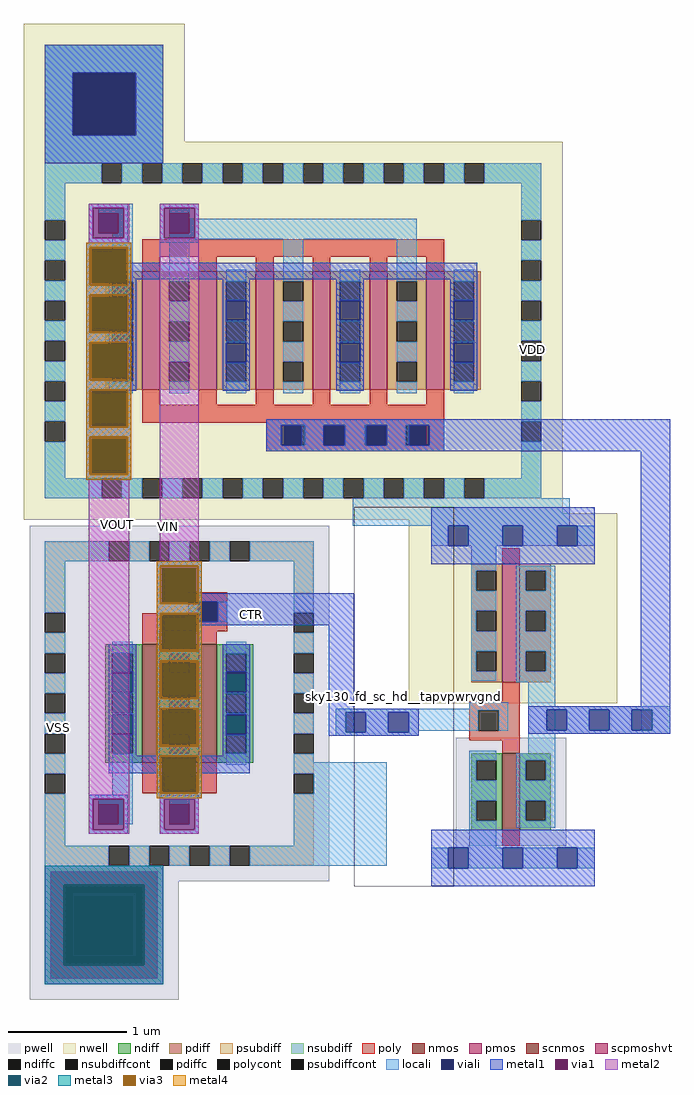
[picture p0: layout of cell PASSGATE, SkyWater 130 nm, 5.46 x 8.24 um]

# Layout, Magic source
magic
tech sky130A
magscale 1 2
<< nwell >>
rect 1366 442 2276 1080
<< pwell >>
rect 1376 -168 1882 432
<< nmos >>
rect 1566 32 1596 232
rect 1662 32 1692 232
<< pmos >>
rect 1566 662 1596 862
rect 1662 662 1692 862
rect 1758 662 1788 862
rect 1854 662 1884 862
rect 1950 662 1980 862
rect 2046 662 2076 862
<< ndiff >>
rect 1504 217 1566 232
rect 1504 183 1516 217
rect 1550 183 1566 217
rect 1504 149 1566 183
rect 1504 115 1516 149
rect 1550 115 1566 149
rect 1504 81 1566 115
rect 1504 47 1516 81
rect 1550 47 1566 81
rect 1504 32 1566 47
rect 1596 217 1662 232
rect 1596 183 1612 217
rect 1646 183 1662 217
rect 1596 149 1662 183
rect 1596 115 1612 149
rect 1646 115 1662 149
rect 1596 81 1662 115
rect 1596 47 1612 81
rect 1646 47 1662 81
rect 1596 32 1662 47
rect 1692 217 1754 232
rect 1692 183 1708 217
rect 1742 183 1754 217
rect 1692 149 1754 183
rect 1692 115 1708 149
rect 1742 115 1754 149
rect 1692 81 1754 115
rect 1692 47 1708 81
rect 1742 47 1754 81
rect 1692 32 1754 47
<< pdiff >>
rect 1504 845 1566 862
rect 1504 811 1516 845
rect 1550 811 1566 845
rect 1504 777 1566 811
rect 1504 743 1516 777
rect 1550 743 1566 777
rect 1504 709 1566 743
rect 1504 675 1516 709
rect 1550 675 1566 709
rect 1504 662 1566 675
rect 1596 845 1662 862
rect 1596 811 1612 845
rect 1646 811 1662 845
rect 1596 777 1662 811
rect 1596 743 1612 777
rect 1646 743 1662 777
rect 1596 709 1662 743
rect 1596 675 1612 709
rect 1646 675 1662 709
rect 1596 662 1662 675
rect 1692 845 1758 862
rect 1692 811 1708 845
rect 1742 811 1758 845
rect 1692 777 1758 811
rect 1692 743 1708 777
rect 1742 743 1758 777
rect 1692 709 1758 743
rect 1692 675 1708 709
rect 1742 675 1758 709
rect 1692 662 1758 675
rect 1788 845 1854 862
rect 1788 811 1804 845
rect 1838 811 1854 845
rect 1788 777 1854 811
rect 1788 743 1804 777
rect 1838 743 1854 777
rect 1788 709 1854 743
rect 1788 675 1804 709
rect 1838 675 1854 709
rect 1788 662 1854 675
rect 1884 845 1950 862
rect 1884 811 1900 845
rect 1934 811 1950 845
rect 1884 777 1950 811
rect 1884 743 1900 777
rect 1934 743 1950 777
rect 1884 709 1950 743
rect 1884 675 1900 709
rect 1934 675 1950 709
rect 1884 662 1950 675
rect 1980 845 2046 862
rect 1980 811 1996 845
rect 2030 811 2046 845
rect 1980 777 2046 811
rect 1980 743 1996 777
rect 2030 743 2046 777
rect 1980 709 2046 743
rect 1980 675 1996 709
rect 2030 675 2046 709
rect 1980 662 2046 675
rect 2076 845 2138 862
rect 2076 811 2092 845
rect 2126 811 2138 845
rect 2076 777 2138 811
rect 2076 743 2092 777
rect 2126 743 2138 777
rect 2076 709 2138 743
rect 2076 675 2092 709
rect 2126 675 2138 709
rect 2076 662 2138 675
<< ndiffc >>
rect 1516 183 1550 217
rect 1516 115 1550 149
rect 1516 47 1550 81
rect 1612 183 1646 217
rect 1612 115 1646 149
rect 1612 47 1646 81
rect 1708 183 1742 217
rect 1708 115 1742 149
rect 1708 47 1742 81
<< pdiffc >>
rect 1516 811 1550 845
rect 1516 743 1550 777
rect 1516 675 1550 709
rect 1612 811 1646 845
rect 1612 743 1646 777
rect 1612 675 1646 709
rect 1708 811 1742 845
rect 1708 743 1742 777
rect 1708 675 1742 709
rect 1804 811 1838 845
rect 1804 743 1838 777
rect 1804 675 1838 709
rect 1900 811 1934 845
rect 1900 743 1934 777
rect 1900 675 1934 709
rect 1996 811 2030 845
rect 1996 743 2030 777
rect 1996 675 2030 709
rect 2092 811 2126 845
rect 2092 743 2126 777
rect 2092 675 2126 709
<< psubdiff >>
rect 1402 372 1510 406
rect 1544 372 1578 406
rect 1612 372 1646 406
rect 1680 372 1714 406
rect 1748 372 1856 406
rect 1402 285 1436 372
rect 1402 217 1436 251
rect 1822 285 1856 372
rect 1402 149 1436 183
rect 1402 81 1436 115
rect 1402 13 1436 47
rect 1822 217 1856 251
rect 1822 149 1856 183
rect 1822 81 1856 115
rect 1822 13 1856 47
rect 1402 -108 1436 -21
rect 1822 -108 1856 -21
rect 1402 -142 1510 -108
rect 1544 -142 1578 -108
rect 1612 -142 1646 -108
rect 1680 -142 1714 -108
rect 1748 -142 1856 -108
<< nsubdiff >>
rect 1402 1010 1498 1044
rect 1532 1010 1566 1044
rect 1600 1010 1634 1044
rect 1668 1010 1702 1044
rect 1736 1010 1770 1044
rect 1804 1010 1838 1044
rect 1872 1010 1906 1044
rect 1940 1010 1974 1044
rect 2008 1010 2042 1044
rect 2076 1010 2110 1044
rect 2144 1010 2240 1044
rect 1402 948 1436 1010
rect 2206 948 2240 1010
rect 1402 880 1436 914
rect 2206 880 2240 914
rect 1402 812 1436 846
rect 1402 744 1436 778
rect 1402 676 1436 710
rect 2206 812 2240 846
rect 2206 744 2240 778
rect 2206 676 2240 710
rect 1402 608 1436 642
rect 2206 608 2240 642
rect 1402 512 1436 574
rect 2206 512 2240 574
rect 1402 478 1498 512
rect 1532 478 1566 512
rect 1600 478 1634 512
rect 1668 478 1702 512
rect 1736 478 1770 512
rect 1804 478 1838 512
rect 1872 478 1906 512
rect 1940 478 1974 512
rect 2008 478 2042 512
rect 2076 478 2110 512
rect 2144 478 2240 512
<< psubdiffcont >>
rect 1510 372 1544 406
rect 1578 372 1612 406
rect 1646 372 1680 406
rect 1714 372 1748 406
rect 1402 251 1436 285
rect 1822 251 1856 285
rect 1402 183 1436 217
rect 1402 115 1436 149
rect 1402 47 1436 81
rect 1822 183 1856 217
rect 1822 115 1856 149
rect 1822 47 1856 81
rect 1402 -21 1436 13
rect 1822 -21 1856 13
rect 1510 -142 1544 -108
rect 1578 -142 1612 -108
rect 1646 -142 1680 -108
rect 1714 -142 1748 -108
<< nsubdiffcont >>
rect 1498 1010 1532 1044
rect 1566 1010 1600 1044
rect 1634 1010 1668 1044
rect 1702 1010 1736 1044
rect 1770 1010 1804 1044
rect 1838 1010 1872 1044
rect 1906 1010 1940 1044
rect 1974 1010 2008 1044
rect 2042 1010 2076 1044
rect 2110 1010 2144 1044
rect 1402 914 1436 948
rect 1402 846 1436 880
rect 2206 914 2240 948
rect 1402 778 1436 812
rect 1402 710 1436 744
rect 1402 642 1436 676
rect 2206 846 2240 880
rect 2206 778 2240 812
rect 2206 710 2240 744
rect 1402 574 1436 608
rect 2206 642 2240 676
rect 2206 574 2240 608
rect 1498 478 1532 512
rect 1566 478 1600 512
rect 1634 478 1668 512
rect 1702 478 1736 512
rect 1770 478 1804 512
rect 1838 478 1872 512
rect 1906 478 1940 512
rect 1974 478 2008 512
rect 2042 478 2076 512
rect 2110 478 2144 512
<< poly >>
rect 1566 886 2076 916
rect 1566 862 1596 886
rect 1662 862 1692 886
rect 1758 862 1788 886
rect 1854 862 1884 886
rect 1950 862 1980 886
rect 2046 862 2076 886
rect 1566 636 1596 662
rect 1662 636 1692 662
rect 1758 636 1788 662
rect 1854 636 1884 662
rect 1950 636 1980 662
rect 2046 636 2076 662
rect 1566 606 2076 636
rect 1644 304 1710 320
rect 1644 284 1660 304
rect 1566 270 1660 284
rect 1694 270 1710 304
rect 1566 254 1710 270
rect 1566 232 1596 254
rect 1662 232 1692 254
rect 1566 10 1596 32
rect 1662 10 1692 32
rect 1566 -20 1692 10
<< polycont >>
rect 1660 270 1694 304
<< locali >>
rect 1402 1010 1498 1044
rect 1532 1010 1566 1044
rect 1600 1010 1634 1044
rect 1668 1010 1702 1044
rect 1736 1010 1770 1044
rect 1804 1010 1838 1044
rect 1872 1010 1906 1044
rect 1940 1010 1974 1044
rect 2008 1010 2042 1044
rect 2076 1010 2110 1044
rect 2144 1010 2240 1044
rect 1402 948 1436 1010
rect 1492 960 1550 976
rect 1526 926 1550 960
rect 1402 880 1436 914
rect 1402 812 1436 846
rect 1402 744 1436 778
rect 1402 676 1436 710
rect 1516 845 1550 926
rect 1516 777 1550 779
rect 1516 741 1550 743
rect 1516 656 1550 675
rect 1612 960 1646 976
rect 1646 926 2030 950
rect 1612 916 2030 926
rect 1612 845 1646 916
rect 1612 777 1646 811
rect 1612 709 1646 743
rect 1612 656 1646 675
rect 1708 845 1742 864
rect 1708 777 1742 779
rect 1708 741 1742 743
rect 1708 656 1742 675
rect 1804 845 1838 916
rect 1804 777 1838 811
rect 1804 709 1838 743
rect 1804 656 1838 675
rect 1900 845 1934 864
rect 1900 777 1934 779
rect 1900 741 1934 743
rect 1900 656 1934 675
rect 1996 845 2030 916
rect 2206 948 2240 1010
rect 2206 880 2240 914
rect 1996 777 2030 811
rect 1996 709 2030 743
rect 1996 656 2030 675
rect 2092 845 2126 864
rect 2092 777 2126 779
rect 2092 741 2126 743
rect 2092 656 2126 675
rect 2206 812 2240 846
rect 2206 744 2240 778
rect 2206 676 2240 710
rect 1402 608 1436 642
rect 1402 512 1436 574
rect 2206 608 2240 642
rect 2206 512 2240 574
rect 1402 478 1498 512
rect 1532 478 1566 512
rect 1600 478 1634 512
rect 1668 478 1702 512
rect 1736 478 1770 512
rect 1804 478 1838 512
rect 1872 478 1906 512
rect 1940 478 1974 512
rect 2008 478 2042 512
rect 2076 478 2110 512
rect 2144 478 2240 512
rect 1922 432 2288 478
rect 1402 372 1510 406
rect 1544 372 1578 406
rect 1612 372 1646 406
rect 1680 372 1714 406
rect 1748 372 1856 406
rect 1402 285 1436 372
rect 1644 270 1660 304
rect 1694 270 1710 304
rect 1822 285 1856 372
rect 1402 217 1436 251
rect 1402 149 1436 183
rect 1402 81 1436 115
rect 1402 13 1436 47
rect 1402 -108 1436 -21
rect 1516 217 1550 236
rect 1516 149 1550 151
rect 1516 113 1550 115
rect 1516 -22 1550 47
rect 1492 -38 1550 -22
rect 1526 -72 1550 -38
rect 1612 217 1646 236
rect 1612 149 1646 183
rect 1612 81 1646 115
rect 1612 -38 1646 47
rect 1708 217 1742 236
rect 1708 149 1742 151
rect 1708 113 1742 115
rect 1708 28 1742 47
rect 1822 217 1856 251
rect 1822 149 1856 183
rect 1822 81 1856 115
rect 2033 86 2118 123
rect 1822 33 1856 47
rect 1822 13 1979 33
rect 1856 -21 1979 13
rect 1822 -108 1979 -21
rect 1402 -142 1510 -108
rect 1544 -142 1578 -108
rect 1612 -142 1646 -108
rect 1680 -142 1714 -108
rect 1748 -142 1979 -108
<< viali >>
rect 1492 926 1526 960
rect 1516 811 1550 813
rect 1516 779 1550 811
rect 1516 709 1550 741
rect 1516 707 1550 709
rect 1612 926 1646 960
rect 1708 811 1742 813
rect 1708 779 1742 811
rect 1708 709 1742 741
rect 1708 707 1742 709
rect 1900 811 1934 813
rect 1900 779 1934 811
rect 1900 709 1934 741
rect 1900 707 1934 709
rect 2092 811 2126 813
rect 2092 779 2126 811
rect 2092 709 2126 741
rect 2092 707 2126 709
rect 1660 270 1694 304
rect 1516 183 1550 185
rect 1516 151 1550 183
rect 1516 81 1550 113
rect 1516 79 1550 81
rect 1492 -72 1526 -38
rect 1708 183 1742 185
rect 1708 151 1742 183
rect 1708 81 1742 113
rect 1708 79 1742 81
rect 1612 -72 1646 -38
<< metal1 >>
rect 1476 969 1542 976
rect 1476 917 1483 969
rect 1535 917 1542 969
rect 1476 910 1542 917
rect 1596 969 1662 976
rect 1596 917 1603 969
rect 1655 917 1662 969
rect 1596 910 1662 917
rect 1510 848 2132 876
rect 1510 813 1556 848
rect 1510 779 1516 813
rect 1550 779 1556 813
rect 1510 741 1556 779
rect 1510 707 1516 741
rect 1550 707 1556 741
rect 1510 660 1556 707
rect 1702 813 1748 848
rect 1702 779 1708 813
rect 1742 779 1748 813
rect 1702 741 1748 779
rect 1702 707 1708 741
rect 1742 707 1748 741
rect 1702 660 1748 707
rect 1894 813 1940 848
rect 1894 779 1900 813
rect 1934 779 1940 813
rect 1894 741 1940 779
rect 1894 707 1900 741
rect 1934 707 1940 741
rect 1894 660 1940 707
rect 2086 813 2132 848
rect 2086 779 2092 813
rect 2126 779 2132 813
rect 2086 741 2132 779
rect 2086 707 2092 741
rect 2126 707 2132 741
rect 2086 660 2132 707
rect 2076 558 2458 612
rect 1644 304 1924 318
rect 1644 270 1660 304
rect 1694 270 1924 304
rect 1644 264 1924 270
rect 1510 185 1556 232
rect 1510 151 1516 185
rect 1550 151 1556 185
rect 1510 113 1556 151
rect 1510 79 1516 113
rect 1550 79 1556 113
rect 1510 44 1556 79
rect 1702 185 1748 232
rect 1702 151 1708 185
rect 1742 151 1748 185
rect 1702 113 1748 151
rect 1702 79 1708 113
rect 1742 79 1748 113
rect 1702 44 1748 79
rect 1881 77 1924 264
rect 2408 81 2458 558
rect 1510 14 1748 44
rect 1476 -29 1542 -22
rect 1476 -81 1483 -29
rect 1535 -81 1542 -29
rect 1476 -88 1542 -81
rect 1596 -29 1662 -22
rect 1596 -81 1603 -29
rect 1655 -81 1662 -29
rect 1596 -88 1662 -81
<< via1 >>
rect 1483 960 1535 969
rect 1483 926 1492 960
rect 1492 926 1526 960
rect 1526 926 1535 960
rect 1483 917 1535 926
rect 1603 960 1655 969
rect 1603 926 1612 960
rect 1612 926 1646 960
rect 1646 926 1655 960
rect 1603 917 1655 926
rect 1483 -38 1535 -29
rect 1483 -72 1492 -38
rect 1492 -72 1526 -38
rect 1526 -72 1535 -38
rect 1483 -81 1535 -72
rect 1603 -38 1655 -29
rect 1603 -72 1612 -38
rect 1612 -72 1646 -38
rect 1646 -72 1655 -38
rect 1603 -81 1655 -72
<< metal2 >>
rect 1476 969 1544 976
rect 1476 917 1483 969
rect 1535 917 1544 969
rect 1476 -29 1544 917
rect 1476 -81 1483 -29
rect 1535 -81 1544 -29
rect 1476 -88 1544 -81
rect 1596 969 1662 976
rect 1596 917 1603 969
rect 1655 917 1662 969
rect 1596 -29 1662 917
rect 1596 -81 1603 -29
rect 1655 -81 1662 -29
rect 1596 -88 1662 -81
use sky130_fd_sc_hd__inv_1$1  sky130_fd_sc_hd__inv_1$1_0
transform 1 0 2054 0 1 -129
box -38 -48 314 592
use sky130_fd_sc_hd__tapvpwrvgnd_1$2  sky130_fd_sc_hd__tapvpwrvgnd_1$2_0
transform 1 0 1962 0 1 -129
box -38 -48 130 592
use vias_gen$3$1  vias_gen$3$1_0
transform 1 0 2218 0 1 81
box 0 0 240 46
use vias_gen$5$1  vias_gen$5$1_0
transform 1 0 1776 0 1 558
box 0 0 300 54
use vias_gen$6  vias_gen$6_0
transform 1 0 1893 0 1 77
box 0 0 140 46
use vias_gen$7  vias_gen$7_0
transform 1 0 1591 0 1 -28
box 0 0 76 400
use vias_gen$7  vias_gen$7_1
transform 1 0 1472 0 1 510
box 0 0 76 400
use vias_gen$8  vias_gen$8_0
transform 1 0 1402 0 1 -342
box -26 -26 226 226
use vias_gen$10  vias_gen$10_0
transform 1 0 1402 0 1 1044
box -36 -36 236 236
<< labels >>
flabel metal1 s 1751 282 1751 282 2 FreeSans 44 0 0 0 CTR
flabel metal1 s 1753 288 1753 288 0 FreeSans 600 0 0 0 CTR
port 1 nsew
flabel locali s 1425 91 1425 91 2 FreeSans 54 0 0 0 VSS
flabel locali s 2226 730 2226 730 2 FreeSans 54 0 0 0 VDD
flabel locali s 2228 727 2228 727 0 FreeSans 600 0 0 0 VDD
port 2 nsew
flabel locali s 1425 92 1425 92 0 FreeSans 600 0 0 0 VSS
port 3 nsew
flabel metal2 s 1524 434 1524 434 2 FreeSans 44 0 0 0 VOUT
flabel metal2 s 1611 431 1611 431 2 FreeSans 44 0 0 0 VIN
flabel metal2 s 1527 430 1527 430 0 FreeSans 600 0 0 0 VOUT
port 4 nsew
flabel metal2 s 1612 429 1612 429 0 FreeSans 600 0 0 0 VIN
port 5 nsew
<< end >>

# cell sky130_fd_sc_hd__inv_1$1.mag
magic
tech sky130A
magscale 1 2
<< nwell >>
rect -38 261 314 582
<< pwell >>
rect 42 21 228 203
rect 42 17 63 21
rect 29 -17 63 17
<< scnmos >>
rect 120 47 150 177
<< scpmoshvt >>
rect 120 297 150 497
<< ndiff >>
rect 68 165 120 177
rect 68 131 76 165
rect 110 131 120 165
rect 68 97 120 131
rect 68 63 76 97
rect 110 63 120 97
rect 68 47 120 63
rect 150 165 202 177
rect 150 131 160 165
rect 194 131 202 165
rect 150 97 202 131
rect 150 63 160 97
rect 194 63 202 97
rect 150 47 202 63
<< pdiff >>
rect 68 485 120 497
rect 68 451 76 485
rect 110 451 120 485
rect 68 417 120 451
rect 68 383 76 417
rect 110 383 120 417
rect 68 349 120 383
rect 68 315 76 349
rect 110 315 120 349
rect 68 297 120 315
rect 150 485 202 497
rect 150 451 160 485
rect 194 451 202 485
rect 150 417 202 451
rect 150 383 160 417
rect 194 383 202 417
rect 150 349 202 383
rect 150 315 160 349
rect 194 315 202 349
rect 150 297 202 315
<< ndiffc >>
rect 76 131 110 165
rect 76 63 110 97
rect 160 131 194 165
rect 160 63 194 97
<< pdiffc >>
rect 76 451 110 485
rect 76 383 110 417
rect 76 315 110 349
rect 160 451 194 485
rect 160 383 194 417
rect 160 315 194 349
<< poly >>
rect 120 497 150 523
rect 120 265 150 297
rect 64 249 150 265
rect 64 215 80 249
rect 114 215 150 249
rect 64 199 150 215
rect 120 177 150 199
rect 120 21 150 47
<< polycont >>
rect 80 215 114 249
<< locali >>
rect 0 527 29 561
rect 63 527 121 561
rect 155 527 213 561
rect 247 527 276 561
rect 68 485 110 527
rect 68 451 76 485
rect 68 417 110 451
rect 68 383 76 417
rect 68 349 110 383
rect 68 315 76 349
rect 68 299 110 315
rect 144 485 210 493
rect 144 451 160 485
rect 194 451 210 485
rect 144 417 210 451
rect 144 383 160 417
rect 194 383 210 417
rect 144 349 210 383
rect 144 315 160 349
rect 194 315 210 349
rect 144 297 210 315
rect 64 249 130 263
rect 64 215 80 249
rect 114 215 130 249
rect 64 165 110 181
rect 164 177 210 297
rect 64 131 76 165
rect 64 97 110 131
rect 64 63 76 97
rect 64 17 110 63
rect 144 165 210 177
rect 144 131 160 165
rect 194 131 210 165
rect 144 97 210 131
rect 144 63 160 97
rect 194 63 210 97
rect 144 51 210 63
rect 0 -17 29 17
rect 63 -17 121 17
rect 155 -17 213 17
rect 247 -17 276 17
<< viali >>
rect 29 527 63 561
rect 121 527 155 561
rect 213 527 247 561
rect 29 -17 63 17
rect 121 -17 155 17
rect 213 -17 247 17
<< metal1 >>
rect 0 561 276 592
rect 0 527 29 561
rect 63 527 121 561
rect 155 527 213 561
rect 247 527 276 561
rect 0 496 276 527
rect 0 17 276 48
rect 0 -17 29 17
rect 63 -17 121 17
rect 155 -17 213 17
rect 247 -17 276 17
rect 0 -48 276 -17
<< labels >>
flabel metal1 s 29 -17 63 17 0 FreeSans 200 0 0 0 VGND
port 1 nsew
flabel metal1 s 29 527 63 561 0 FreeSans 200 0 0 0 VPWR
port 2 nsew
rlabel comment s 0 0 0 0 4 inv_1
flabel locali s 164 289 198 323 0 FreeSans 340 0 0 0 Y
port 7 nsew
flabel locali s 164 221 198 255 0 FreeSans 340 0 0 0 Y
port 7 nsew
flabel locali s 72 221 106 255 0 FreeSans 340 0 0 0 A
port 6 nsew
flabel nwell s 29 527 63 561 0 FreeSans 200 0 0 0 VPB
port 4 nsew
flabel pwell s 29 -17 63 17 0 FreeSans 200 0 0 0 VNB
port 5 nsew
<< properties >>
string FIXED_BBOX 0 0 276 544
string path 0.000 0.000 1.380 0.000 
<< end >>

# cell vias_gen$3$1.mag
magic
tech sky130A
magscale 1 2
<< locali >>
rect 0 40 240 46
rect 0 6 31 40
rect 65 6 103 40
rect 137 6 175 40
rect 209 6 240 40
rect 0 0 240 6
<< viali >>
rect 31 6 65 40
rect 103 6 137 40
rect 175 6 209 40
<< metal1 >>
rect 0 40 240 46
rect 0 6 31 40
rect 65 6 103 40
rect 137 6 175 40
rect 209 6 240 40
rect 0 0 240 6
<< end >>

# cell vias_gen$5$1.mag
magic
tech sky130A
magscale 1 2
<< poly >>
rect 0 44 300 54
rect 0 10 31 44
rect 65 10 99 44
rect 133 10 167 44
rect 201 10 235 44
rect 269 10 300 44
rect 0 0 300 10
<< polycont >>
rect 31 10 65 44
rect 99 10 133 44
rect 167 10 201 44
rect 235 10 269 44
<< locali >>
rect 0 44 300 54
rect 0 10 25 44
rect 65 10 97 44
rect 133 10 167 44
rect 203 10 235 44
rect 275 10 300 44
rect 0 0 300 10
<< viali >>
rect 25 10 31 44
rect 31 10 59 44
rect 97 10 99 44
rect 99 10 131 44
rect 169 10 201 44
rect 201 10 203 44
rect 241 10 269 44
rect 269 10 275 44
<< metal1 >>
rect 0 44 300 54
rect 0 10 25 44
rect 59 10 97 44
rect 131 10 169 44
rect 203 10 241 44
rect 275 10 300 44
rect 0 0 300 10
<< end >>

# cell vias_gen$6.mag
magic
tech sky130A
magscale 1 2
<< locali >>
rect 0 40 140 46
rect 0 6 17 40
rect 51 6 89 40
rect 123 6 140 40
rect 0 0 140 6
<< viali >>
rect 17 6 51 40
rect 89 6 123 40
<< metal1 >>
rect 0 40 140 46
rect 0 6 17 40
rect 51 6 89 40
rect 123 6 140 40
rect 0 0 140 6
<< end >>

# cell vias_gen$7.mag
magic
tech sky130A
<< metal2 >>
rect 0 194 38 200
rect 0 166 5 194
rect 33 166 38 194
rect 0 154 38 166
rect 0 126 5 154
rect 33 126 38 154
rect 0 114 38 126
rect 0 86 5 114
rect 33 86 38 114
rect 0 74 38 86
rect 0 46 5 74
rect 33 46 38 74
rect 0 34 38 46
rect 0 6 5 34
rect 33 6 38 34
rect 0 0 38 6
<< via2 >>
rect 5 166 33 194
rect 5 126 33 154
rect 5 86 33 114
rect 5 46 33 74
rect 5 6 33 34
<< metal3 >>
rect 0 196 38 200
rect 0 164 3 196
rect 35 164 38 196
rect 0 156 38 164
rect 0 124 3 156
rect 35 124 38 156
rect 0 116 38 124
rect 0 84 3 116
rect 35 84 38 116
rect 0 76 38 84
rect 0 44 3 76
rect 35 44 38 76
rect 0 36 38 44
rect 0 4 3 36
rect 35 4 38 36
rect 0 0 38 4
<< via3 >>
rect 3 194 35 196
rect 3 166 5 194
rect 5 166 33 194
rect 33 166 35 194
rect 3 164 35 166
rect 3 154 35 156
rect 3 126 5 154
rect 5 126 33 154
rect 33 126 35 154
rect 3 124 35 126
rect 3 114 35 116
rect 3 86 5 114
rect 5 86 33 114
rect 33 86 35 114
rect 3 84 35 86
rect 3 74 35 76
rect 3 46 5 74
rect 5 46 33 74
rect 33 46 35 74
rect 3 44 35 46
rect 3 34 35 36
rect 3 6 5 34
rect 5 6 33 34
rect 33 6 35 34
rect 3 4 35 6
<< metal4 >>
rect 0 196 38 200
rect 0 164 3 196
rect 35 164 38 196
rect 0 156 38 164
rect 0 124 3 156
rect 35 124 38 156
rect 0 116 38 124
rect 0 84 3 116
rect 35 84 38 116
rect 0 76 38 84
rect 0 44 3 76
rect 35 44 38 76
rect 0 36 38 44
rect 0 4 3 36
rect 35 4 38 36
rect 0 0 38 4
<< end >>

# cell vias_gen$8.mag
magic
tech sky130A
magscale 1 2
<< pwell >>
rect -26 -26 226 226
<< psubdiff >>
rect 0 151 200 200
rect 0 49 49 151
rect 151 49 200 151
rect 0 0 200 49
<< psubdiffcont >>
rect 49 49 151 151
<< locali >>
rect 0 153 200 200
rect 0 47 47 153
rect 153 47 200 153
rect 0 0 200 47
<< viali >>
rect 47 151 153 153
rect 47 49 49 151
rect 49 49 151 151
rect 151 49 153 151
rect 47 47 153 49
<< metal1 >>
rect 0 190 200 200
rect 0 10 10 190
rect 190 10 200 190
rect 0 0 200 10
<< via1 >>
rect 10 153 190 190
rect 10 47 47 153
rect 47 47 153 153
rect 153 47 190 153
rect 10 10 190 47
<< metal2 >>
rect 0 190 200 200
rect 0 10 10 190
rect 190 10 200 190
rect 0 0 200 10
<< via2 >>
rect 32 32 168 168
<< metal3 >>
rect 0 168 200 200
rect 0 32 32 168
rect 168 32 200 168
rect 0 0 200 32
<< end >>

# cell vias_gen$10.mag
magic
tech sky130A
magscale 1 2
<< nwell >>
rect -36 -36 236 236
<< nsubdiff >>
rect 0 151 200 200
rect 0 49 49 151
rect 151 49 200 151
rect 0 0 200 49
<< nsubdiffcont >>
rect 49 49 151 151
<< locali >>
rect 0 153 200 200
rect 0 47 47 153
rect 153 47 200 153
rect 0 0 200 47
<< viali >>
rect 47 151 153 153
rect 47 49 49 151
rect 49 49 151 151
rect 151 49 153 151
rect 47 47 153 49
<< metal1 >>
rect 0 153 200 200
rect 0 47 47 153
rect 153 47 200 153
rect 0 0 200 47
<< end >>
